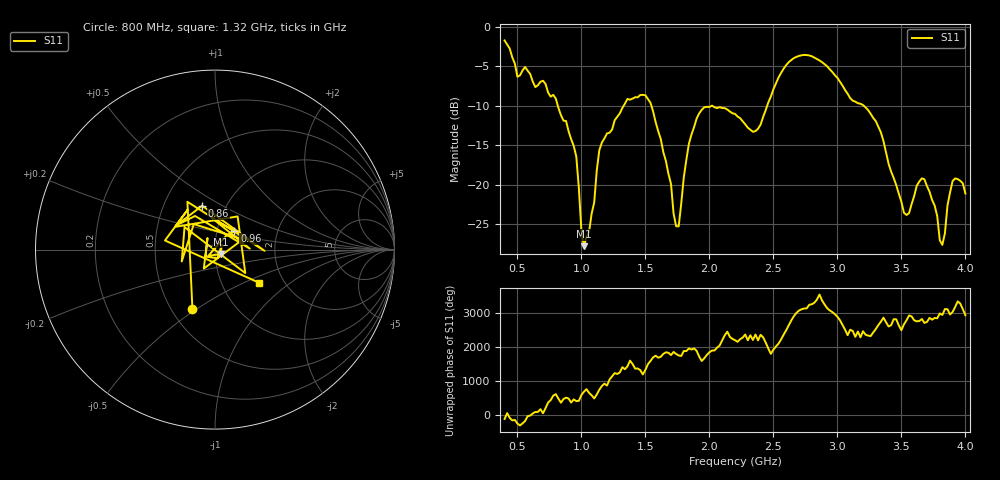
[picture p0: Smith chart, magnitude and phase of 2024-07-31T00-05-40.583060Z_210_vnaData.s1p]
!Created with skrf (http://scikit-rf.org).
# Hz S RI R 50.0
!freq ReS11 ImS11
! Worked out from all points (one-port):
!   181 points, 400 MHz to 4 GHz, reference 50 ohm
!   lowest |S11| = -27.8 dB at 1.02 GHz (marker M1), VSWR 1.08, Z = 53.3 - j2.63 ohm
!   |S11| at or under -10 dB: 815.9 MHz to 1.33 GHz (514.1 MHz wide, 47.9 % of centre); 1.547 GHz to 2.017 GHz (470.2 MHz wide, 26.4 % of centre); 3.207 GHz to end of sweep (the widest 3 of 4)
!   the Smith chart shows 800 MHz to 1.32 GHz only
!   S11 on the Smith chart (normalised r, x): 800 MHz: 0.64, -0.48; 860 MHz: 0.77, +0.40; 960 MHz: 1.21, +0.26; 1.32 GHz: 1.50, -0.61
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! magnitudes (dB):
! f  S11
! 400 MHz  -1.7
! 500 MHz  -6.3
! 560 MHz  -5.1
! 800 MHz  -9.1
! 860 MHz  -11.9
! 960 MHz  -16.4
! 1 GHz  -25.9
! 1.02 GHz  -27.8
! 1.1 GHz  -22.3
! 1.14 GHz  -15.6
! 1.3 GHz  -11.0
! 1.32 GHz  -10.3
! 1.54 GHz  -9.6
! 1.76 GHz  -25.3
! 1.84 GHz  -14.8
! 1.92 GHz  -11.0
! 2.2 GHz  -11.0
! 2.38 GHz  -12.9
! 2.66 GHz  -3.9
! 2.88 GHz  -4.4
! 3.1 GHz  -9.0
! 3.3 GHz  -11.9
! 3.52 GHz  -23.6
! 3.56 GHz  -23.6
! 3.68 GHz  -19.3
! 3.82 GHz  -27.7
! 3.9 GHz  -19.6
! 4 GHz  -21.1
